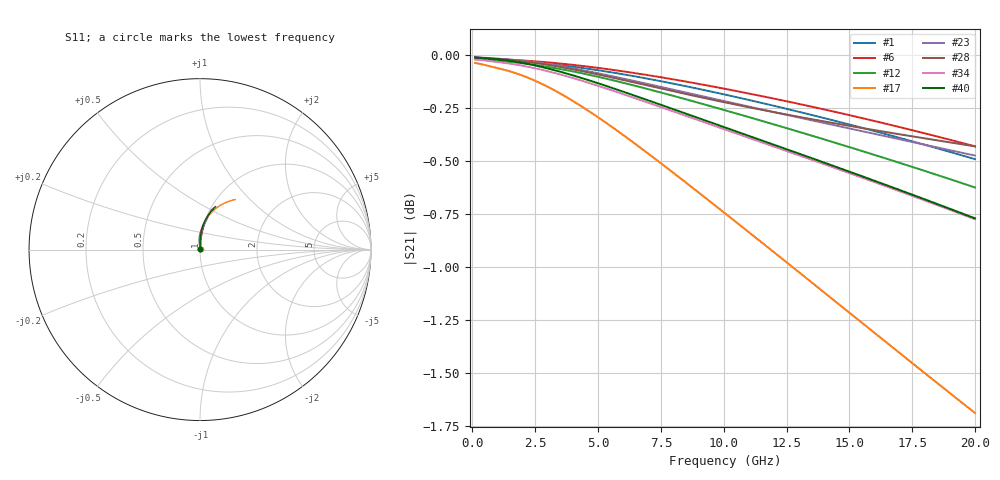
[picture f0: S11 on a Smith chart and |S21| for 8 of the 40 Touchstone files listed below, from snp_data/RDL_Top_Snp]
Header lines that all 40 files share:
! Touchstone file exported from HFSS 2024.1.0
!  Design:  RDL_top
!  Setup:  Setup1
!  Solution:  Sweep
! Variables:
# GHz S MA R 50.000000
! Terminal data exported
! Port[1] = Box2_T1
! Port[2] = Box2_T2
Fixed: dtsv = 10.80580581um, hbump = 3um, ldown = 100um, p = 40, rhole = 1um, t = 450um, tdown = 3.915915916um, wdown = 15.38538539um
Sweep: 100 MHz to 20 GHz
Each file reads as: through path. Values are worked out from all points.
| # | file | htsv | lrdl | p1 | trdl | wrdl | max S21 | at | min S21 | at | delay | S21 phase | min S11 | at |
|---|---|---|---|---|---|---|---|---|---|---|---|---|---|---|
| 1 | dut0.s2p | 75.89um | 219.56um | 49.14um | 2.73um | 15.11um | -0.02 dB | 100 MHz | -0.5 dB | 20 GHz | 2.77 ps | -11 deg at 10.1 GHz | -52.1 dB | 100 MHz |
| 2 | dut2.s2p | 82.58um | 395.12um | 52.73um | 3.42um | 24.09um | -0.02 dB | 100 MHz | -0.9 dB | 20 GHz | 4.07 ps | -16 deg at 10.1 GHz | -52.5 dB | 100 MHz |
| 3 | dut13.s2p | 82.07um | 617.66um | 42.22um | 4.9um | 17.97um | -0.02 dB | 100 MHz | -1.3 dB | 20 GHz | 5.67 ps | -23 deg at 10.1 GHz | -49.5 dB | 100 MHz |
| 4 | dut20.s2p | 79.98um | 288.48um | 55.49um | 3.94um | 18.56um | -0.01 dB | 100 MHz | -0.7 dB | 20 GHz | 3.37 ps | -13 deg at 10.1 GHz | -53.5 dB | 100 MHz |
| 5 | dut26.s2p | 84.31um | 687.1um | 56.9um | 2.09um | 29.49um | -0.04 dB | 100 MHz | -1.8 dB | 20 GHz | 6.65 ps | -27 deg at 10.1 GHz | -46.5 dB | 100 MHz |
| 6 | dut33.s2p | 77.41um | 173.69um | 56.68um | 2.81um | 13.96um | -0.02 dB | 100 MHz | -0.4 dB | 20 GHz | 2.53 ps | -10 deg at 10.1 GHz | -53.2 dB | 100 MHz |
| 7 | dut37.s2p | 95.46um | 579.34um | 40.4um | 2.14um | 14.52um | -0.06 dB | 100 MHz | -1.5 dB | 20 GHz | 5.88 ps | -23 deg at 10.1 GHz | -42.8 dB | 100 MHz |
| 8 | dut40.s2p | 79.98um | 343.43um | 44.2um | 2.96um | 13.61um | -0.03 dB | 100 MHz | -0.8 dB | 20 GHz | 3.87 ps | -15 deg at 10.1 GHz | -48.8 dB | 100 MHz |
| 9 | dut45.s2p | 62.92um | 324.5um | 56.4um | 4.84um | 25.78um | -0.01 dB | 100 MHz | -0.7 dB | 20 GHz | 3.34 ps | -13 deg at 10.1 GHz | -56.2 dB | 100 MHz |
| 10 | dut51.s2p | 95.76um | 319.35um | 46.85um | 2.5um | 12.41um | -0.03 dB | 100 MHz | -0.8 dB | 20 GHz | 3.87 ps | -15 deg at 10.1 GHz | -47.4 dB | 100 MHz |
| 11 | dut52.s2p | 84.81um | 119.46um | 51.37um | 4.98um | 14.18um | -0.01 dB | 100 MHz | -0.2 dB | 20 GHz | 1.65 ps | -6 deg at 10.1 GHz | -59.4 dB | 100 MHz |
| 12 | dut67.s2p | 84.95um | 276.25um | 53.99um | 2.31um | 22.61um | -0.02 dB | 100 MHz | -0.6 dB | 20 GHz | 3.21 ps | -13 deg at 10.1 GHz | -51.9 dB | 100 MHz |
| 13 | dut68.s2p | 91.98um | 147.46um | 56.31um | 4.79um | 11.88um | -0.01 dB | 100 MHz | -0.3 dB | 20 GHz | 2.13 ps | -8 deg at 10.1 GHz | -56.5 dB | 100 MHz |
| 14 | dut69.s2p | 55.44um | 192.84um | 41.37um | 3.31um | 16.34um | -0.01 dB | 100 MHz | -0.3 dB | 20 GHz | 2.16 ps | -8 deg at 10.1 GHz | -55.2 dB | 100 MHz |
| 15 | dut74.s2p | 74.04um | 402.27um | 58.64um | 3.33um | 21.35um | -0.02 dB | 100 MHz | -1.1 dB | 20 GHz | 4.48 ps | -18 deg at 10.1 GHz | -50.9 dB | 100 MHz |
| 16 | dut79.s2p | 98.12um | 410.58um | 44.05um | 4.01um | 14.34um | -0.02 dB | 100 MHz | -0.9 dB | 20 GHz | 4.32 ps | -17 deg at 10.1 GHz | -49.7 dB | 100 MHz |
| 17 | dut86.s2p | 85.56um | 681.84um | 54.72um | 2.11um | 29.51um | -0.04 dB | 100 MHz | -1.7 dB | 20 GHz | 6.5 ps | -27 deg at 10.1 GHz | -46.7 dB | 100 MHz |
| 18 | dut109.s2p | 90.01um | 531.29um | 50.45um | 3.65um | 15.98um | -0.03 dB | 100 MHz | -1.5 dB | 20 GHz | 5.6 ps | -22 deg at 10.1 GHz | -47.6 dB | 100 MHz |
| 19 | dut115.s2p | 75.07um | 449.79um | 51.02um | 2.48um | 14.49um | -0.04 dB | 100 MHz | -1.3 dB | 20 GHz | 5.14 ps | -20 deg at 10.1 GHz | -45.7 dB | 100 MHz |
| 20 | dut122.s2p | 75.64um | 231.27um | 59.29um | 4.16um | 18.74um | -0.01 dB | 100 MHz | -0.5 dB | 20 GHz | 2.89 ps | -11 deg at 10.1 GHz | -55.1 dB | 100 MHz |
| 21 | dut130.s2p | 70.63um | 645.71um | 40.92um | 2.85um | 20.48um | -0.04 dB | 100 MHz | -1.4 dB | 20 GHz | 5.92 ps | -24 deg at 10.1 GHz | -46.8 dB | 100 MHz |
| 22 | dut131.s2p | 64.48um | 128.8um | 47.2um | 2.26um | 13.84um | -0.02 dB | 100 MHz | -0.3 dB | 20 GHz | 1.87 ps | -7 deg at 10.1 GHz | -54.0 dB | 100 MHz |
| 23 | dut143.s2p | 82.24um | 291.22um | 42.71um | 4.65um | 21.91um | -0.01 dB | 100 MHz | -0.5 dB | 20 GHz | 2.76 ps | -11 deg at 10.1 GHz | -56.5 dB | 100 MHz |
| 24 | dut147.s2p | 58.05um | 640.3um | 49.87um | 4.2um | 15.3um | -0.03 dB | 100 MHz | -1.9 dB | 20 GHz | 6.43 ps | -26 deg at 10.1 GHz | -46.7 dB | 100 MHz |
| 25 | dut148.s2p | 56.86um | 562.47um | 43.53um | 4.08um | 28.12um | -0.02 dB | 100 MHz | -1.0 dB | 20 GHz | 4.68 ps | -19 deg at 10.1 GHz | -53.1 dB | 100 MHz |
| 26 | dut152.s2p | 68.17um | 394.24um | 47.02um | 3.27um | 20.31um | -0.02 dB | 100 MHz | -0.8 dB | 20 GHz | 4.03 ps | -16 deg at 10.1 GHz | -51.2 dB | 100 MHz |
| 27 | dut154.s2p | 99.17um | 412.57um | 52.36um | 3.96um | 14.13um | -0.02 dB | 100 MHz | -1.1 dB | 20 GHz | 4.67 ps | -18 deg at 10.1 GHz | -49.1 dB | 100 MHz |
| 28 | dut155.s2p | 89.37um | 269.89um | 43.75um | 3.53um | 28.43um | -0.01 dB | 100 MHz | -0.4 dB | 20 GHz | 2.44 ps | -10 deg at 10.1 GHz | -57.4 dB | 100 MHz |
| 29 | dut159.s2p | 70.64um | 187.75um | 58.94um | 2.59um | 13.7um | -0.02 dB | 100 MHz | -0.5 dB | 20 GHz | 2.78 ps | -11 deg at 10.1 GHz | -51.9 dB | 100 MHz |
| 30 | dut167.s2p | 93.28um | 654.03um | 44.48um | 4.06um | 25.87um | -0.02 dB | 100 MHz | -1.3 dB | 20 GHz | 5.69 ps | -23 deg at 10.1 GHz | -51.0 dB | 100 MHz |
| 31 | dut175.s2p | 94.43um | 379.86um | 51.02um | 3.22um | 22.07um | -0.02 dB | 100 MHz | -0.8 dB | 20 GHz | 3.99 ps | -16 deg at 10.1 GHz | -51.8 dB | 100 MHz |
| 32 | dut176.s2p | 68.94um | 168.14um | 43.75um | 3.33um | 14.05um | -0.01 dB | 100 MHz | -0.3 dB | 20 GHz | 2.08 ps | -8 deg at 10.1 GHz | -55.1 dB | 100 MHz |
| 33 | dut177.s2p | 56.99um | 622.37um | 48.26um | 3.87um | 20.79um | -0.03 dB | 100 MHz | -1.5 dB | 20 GHz | 5.92 ps | -24 deg at 10.1 GHz | -48.9 dB | 100 MHz |
| 34 | dut194.s2p | 56.49um | 349.88um | 54.47um | 2.25um | 27.32um | -0.02 dB | 100 MHz | -0.8 dB | 20 GHz | 3.67 ps | -15 deg at 10.1 GHz | -51.4 dB | 100 MHz |
| 35 | dut195.s2p | 90.23um | 272.56um | 53.72um | 4.2um | 26.26um | -0.01 dB | 100 MHz | -0.5 dB | 20 GHz | 2.84 ps | -11 deg at 10.1 GHz | -57.0 dB | 100 MHz |
| 36 | dut200.s2p | 96.22um | 682.68um | 58.5um | 4.23um | 14.87um | -0.03 dB | 100 MHz | -2.3 dB | 20 GHz | 7.16 ps | -30 deg at 10.1 GHz | -45.6 dB | 100 MHz |
| 37 | dut204.s2p | 91.71um | 277.09um | 45um | 3.4um | 10.05um | -0.03 dB | 100 MHz | -0.7 dB | 20 GHz | 3.41 ps | -13 deg at 10.1 GHz | -49.3 dB | 100 MHz |
| 38 | dut205.s2p | 95.86um | 610.37um | 50.13um | 3.18um | 25.25um | -0.03 dB | 100 MHz | -1.4 dB | 20 GHz | 5.8 ps | -23 deg at 10.1 GHz | -49.3 dB | 100 MHz |
| 39 | dut216.s2p | 80.46um | 178.47um | 59.62um | 2.11um | 22.56um | -0.02 dB | 100 MHz | -0.4 dB | 20 GHz | 2.43 ps | -9 deg at 10.1 GHz | -53.9 dB | 100 MHz |
| 40 | dut218.s2p | 65.77um | 365.29um | 54.5um | 4.85um | 24.04um | -0.01 dB | 100 MHz | -0.8 dB | 20 GHz | 3.71 ps | -15 deg at 10.1 GHz | -54.9 dB | 100 MHz |
